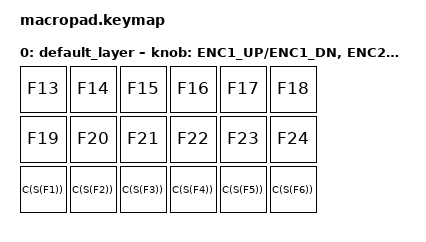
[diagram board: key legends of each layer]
#include <behaviors.dtsi>
#include <dt-bindings/zmk/keys.h>
#include <dt-bindings/zmk/bt.h>

// Define aliases for our macro trigger keys for easy reading
#define KEY_M01 F13
#define KEY_M02 F14
#define KEY_M03 F15
#define KEY_M04 F16
#define KEY_M05 F17
#define KEY_M06 F18
#define KEY_M07 F19
#define KEY_M08 F20
#define KEY_M09 F21
#define KEY_M10 F22
#define KEY_M11 F23
#define KEY_M12 F24
#define KEY_M13 C(S(F1))  // Ctrl+Shift+F1
#define KEY_M14 C(S(F2))
#define KEY_M15 C(S(F3))
#define KEY_M16 C(S(F4))
#define KEY_M17 C(S(F5))
#define KEY_M18 C(S(F6))

#define ENC1_UP   C(S(F7))
#define ENC1_DN   C(S(F8))
#define ENC1_PR   C(S(F9))

#define ENC2_UP   C(S(F10))
#define ENC2_DN   C(S(F11))
#define ENC2_PR   C(S(F12))

#define ENC3_UP   C(A(F1))  // Ctrl+Alt+F1
#define ENC3_DN   C(A(F2))
#define ENC3_PR   C(A(F3))


/ {
    // This combo clears all Bluetooth bonding profiles.
    // Press the top-left and top-right keys of your matrix at the same time and hold for a moment.
    combos {
         compatible = "zmk,combos";
         reset_combo {
             timeout-ms = <500>;
             key-positions = <0 5>; // Corresponds to the first and last key in a row
             bindings = <&bt BT_CLR>;
         };
     };

    keymap {
        compatible = "zmk,keymap";

        default_layer {
            bindings = <
                // Row 1 (Top)
                &kp KEY_M01   &kp KEY_M02   &kp KEY_M03   &kp KEY_M04   &kp KEY_M05   &kp KEY_M06
                // Row 2 (Middle)
                &kp KEY_M07   &kp KEY_M08   &kp KEY_M09   &kp KEY_M10   &kp KEY_M11   &kp KEY_M12
                // Row 3 (Bottom)
                &kp KEY_M13   &kp KEY_M14   &kp KEY_M15   &kp KEY_M16   &kp KEY_M17   &kp KEY_M18
            >;

            // Define what encoder turns do on this layer
            sensor-bindings = <&inc_dec_kp ENC1_UP ENC1_DN>,
                              <&inc_dec_kp ENC2_UP ENC2_DN>,
                              <&inc_dec_kp ENC3_UP ENC3_DN>;
        };
    };

    // Encoder configuration now includes the press action directly
    encoder_1: encoder_1 {
        compatible = "alps,ec11";
        a-gpios = <&pro_micro 4 0>;  // Pin A0 (P0.04)
        b-gpios = <&pro_micro 5 0>;  // Pin A1 (P0.05)
        press-gpios = <&pro_micro 6 (GPIO_ACTIVE_LOW | GPIO_PULL_UP)>; // Pin A2
        on-press = <&kp ENC1_PR>; // Behavior for the press
        steps = <2>;
    };

    encoder_2: encoder_2 {
        compatible = "alps,ec11";
        a-gpios = <&pro_micro 7 0>;   // Pin A3 (P0.29)
        b-gpios = <&pro_micro 18 0>;  // Pin SCK (P0.17)
        press-gpios = <&pro_micro 19 (GPIO_ACTIVE_LOW | GPIO_PULL_UP)>; // Pin MOSI
        on-press = <&kp ENC2_PR>;
        steps = <2>;
    };

    encoder_3: encoder_3 {
        compatible = "alps,ec11";
        a-gpios = <&pro_micro 20 0>;  // Pin MISO (P0.21)
        b-gpios = <&pro_micro 15 0>;  // Pin RX (P1.10)
        press-gpios = <&pro_micro 14 (GPIO_ACTIVE_LOW | GPIO_PULL_UP)>; // Pin TX
        on-press = <&kp ENC3_PR>;
        steps = <2>;
    };
};
